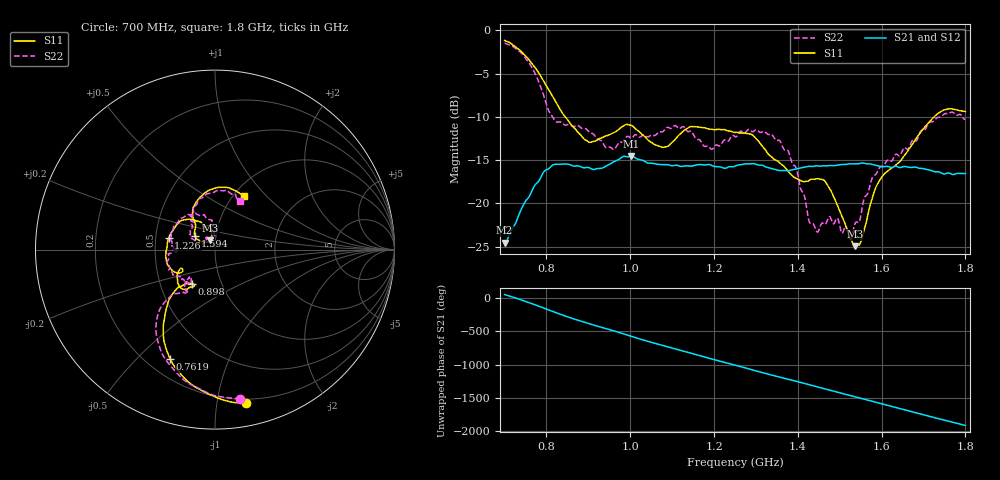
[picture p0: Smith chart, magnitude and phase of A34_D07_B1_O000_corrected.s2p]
! Created with skrf 1.9.0 (http://scikit-rf.org).
# Hz S RI R 50.0
!freq ReS11 ImS11 ReS21 ImS21 ReS12 ImS12 ReS22 ImS22
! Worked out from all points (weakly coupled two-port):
!   1601 points, 700 MHz to 1.8 GHz, reference 50 ohm
!   highest |S21| = -14.52 dB at 1.002 GHz (marker M1); lowest = -24.5 dB at 700 MHz (marker M2)
!   lowest |S11| = -24.9 dB at 1.537 GHz (marker M3), VSWR 1.12, Z = 47.3 + j4.82 ohm
!   |S11| at or under -10 dB: 844.8 MHz to 1.725 GHz (880.4 MHz wide, 68.5 % of centre)
!   |S22| runs from -24.3 to -1.5 dB; largest |S21 - S12| = 0.0035
!   S11 on the Smith chart (normalised r, x): 700 MHz: 0.17, -1.21; 761.9 MHz: 0.29, -0.63; 898 MHz: 0.72, -0.29; 1.226 GHz: 0.58, +0.08; 1.594 GHz: 0.79, +0.12; 1.8 GHz: 1.12, +0.76
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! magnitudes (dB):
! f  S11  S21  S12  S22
! 700 MHz  -1.2  -24.5  -24.3  -1.5
! 761.9 MHz  -3.6  -18.9  -18.8  -4.0
! 818.9 MHz  -8.0  -15.5  -15.6  -10.4
! 883.6 MHz  -12.2  -15.8  -15.7  -11.3
! 898 MHz  -12.8  -15.8  -15.9  -11.6
! 958.5 MHz  -11.9  -15.2  -15.2  -13.7
! 1.002 GHz  -11.0  -14.5  -14.6  -12.5
! 1.067 GHz  -13.4  -15.5  -15.4  -11.8
! 1.144 GHz  -11.1  -15.7  -15.7  -11.7
! 1.193 GHz  -11.4  -15.6  -15.6  -13.7
! 1.226 GHz  -11.5  -15.9  -15.9  -12.7
! 1.25 GHz  -11.8  -15.7  -15.6  -12.3
! 1.357 GHz  -15.3  -16.2  -16.2  -12.8
! 1.396 GHz  -17.1  -16.0  -16.0  -15.9
! 1.434 GHz  -17.2  -15.7  -15.7  -22.3
! 1.471 GHz  -17.9  -15.6  -15.6  -21.9
! 1.525 GHz  -24.0  -15.4  -15.4  -24.3
! 1.537 GHz  -24.9  -15.4  -15.4  -22.3
! 1.594 GHz  -17.4  -15.7  -15.7  -16.0
! 1.617 GHz  -16.2  -15.8  -15.7  -15.0
! 1.733 GHz  -9.6  -16.3  -16.4  -10.1
! 1.8 GHz  -9.4  -16.5  -16.5  -10.3
